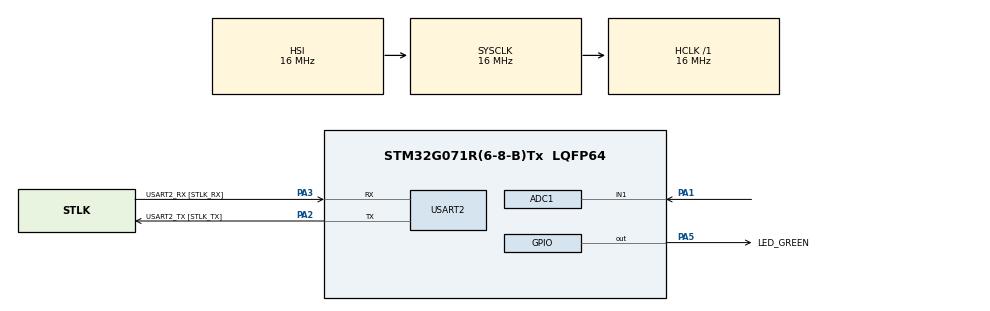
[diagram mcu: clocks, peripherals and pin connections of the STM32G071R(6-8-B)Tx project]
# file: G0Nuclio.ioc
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ADC1.Channel-0\#ChannelRegularConversion=ADC_CHANNEL_1
ADC1.ContinuousConvMode=ENABLE
ADC1.NbrOfConversionFlag=1
ADC1.Rank-0\#ChannelRegularConversion=1
ADC1.SamplingTime-0\#ChannelRegularConversion=ADC_SAMPLINGTIME_COMMON_1
ADC1.SelectedChannel=ADC_CHANNEL_1
ADC1.master=1
Mcu.Family=STM32G0
Mcu.Name=STM32G071R(6-8-B)Tx
Mcu.Package=LQFP64
PA1.Mode=IN1
PA1.Signal=ADC1_IN1
PA13.GPIO_Label=TMS
PA13.Mode=Serial_Wire
PA13.Signal=SYS_SWDIO
PA14-BOOT0.GPIO_Label=TCK
PA14-BOOT0.Mode=Serial_Wire
PA14-BOOT0.Signal=SYS_SWCLK
PA2.GPIO_Label=USART2_TX [STLK_TX]
PA2.GPIO_PuPd=GPIO_PULLUP
PA2.Mode=Asynchronous
PA2.Signal=USART2_TX
PA3.GPIO_Label=USART2_RX [STLK_RX]
PA3.GPIO_PuPd=GPIO_PULLUP
PA3.Mode=Asynchronous
PA3.Signal=USART2_RX
PA5.GPIO_Label=LED_GREEN
PA5.GPIO_Speed=GPIO_SPEED_FREQ_HIGH
PA5.Signal=GPIO_Output
PC13.Mode=SYS_WakeUp1
PC13.Signal=SYS_WKUP2
PC14-OSC32_IN\ (PC14).Mode=LSE-External-Oscillator
PC14-OSC32_IN\ (PC14).Signal=RCC_OSC32_IN
PC15-OSC32_OUT\ (PC15).Mode=LSE-External-Oscillator
PC15-OSC32_OUT\ (PC15).Signal=RCC_OSC32_OUT
PF0-OSC_IN\ (PF0).GPIO_Label=MCO
PF0-OSC_IN\ (PF0).Mode=HSE-External-Clock-Source
PF0-OSC_IN\ (PF0).Signal=RCC_OSC_IN
ProjectManager.HeapSize=0x200
ProjectManager.StackSize=0x400
ProjectManager.TargetToolchain=STM32CubeIDE
RCC.AHBFreq_Value=16000000
RCC.CortexFreq_Value=16000000
RCC.EXTERNAL_CLOCK_VALUE=12288000
RCC.HCLKFreq_Value=16000000
RCC.HSE_VALUE=8000000
RCC.HSI_VALUE=16000000
RCC.SYSCLKFreq_VALUE=16000000
RCC.VCOOutputFreq_Value=128000000
TIM2.Period=30-1
TIM2.Prescaler=16-1
USART2.VirtualMode-Asynchronous=VM_ASYNC
VP_TIM2_VS_ClockSourceINT.Mode=Internal
board=NUCLEO-G071RB

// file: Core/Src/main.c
/* USER CODE BEGIN Header */
/**
  ******************************************************************************
  * @file           : main.c
  * @brief          : Main program body
  ******************************************************************************
  * @attention
  *
  * Copyright (c) 2023 STMicroelectronics.
  * All rights reserved.
  *
  * This software is licensed under terms that can be found in the LICENSE file
  * in the root directory of this software component.
  * If no LICENSE file comes with this software, it is provided AS-IS.
  *
  ******************************************************************************
  */
/* USER CODE END Header */
#include "main.h"

/* USER CODE BEGIN PD */

uint32_t cur_val,avg=0;

int top_val[100];
uint32_t sum = 0, adc_val = 0 ;
uint32_t buffer, sum;
int DMABUFLEN = 10;
uint16_t dmaBuffer[10];
/* USER CODE END PD */

ADC_HandleTypeDef hadc1;

TIM_HandleTypeDef htim2;

UART_HandleTypeDef huart2;

void SystemClock_Config(void);
static void MX_GPIO_Init(void);
static void MX_USART2_UART_Init(void);
static void MX_ADC1_Init(void);
static void MX_TIM2_Init(void);
/* USER CODE BEGIN PFP */

void HAL_ADC_ConvCpltCallback(ADC_HandleTypeDef* hadc)
{
  cur_val = HAL_ADC_GetValue(&hadc1);

}
void updateVal(int* top_val,int adc_val){
	for(uint8_t counter = 1; counter <100;counter++){
		top_val[counter-1] = top_val[counter];
	}
	top_val[99] = adc_val;
}
int averageVal(int* top_val){
sum =0;
	for (int i = 0; i < 100; i++) {
	    sum += top_val[i];
	}
return sum/100;
}

/* USER CODE END PFP */

int main(void)
{

  /* MCU Configuration--------------------------------------------------------*/

  /* Reset of all peripherals, Initializes the Flash interface and the Systick. */
  HAL_Init();

  /* Configure the system clock */
  SystemClock_Config();

  /* Initialize all configured peripherals */
  MX_GPIO_Init();
  MX_USART2_UART_Init();
  MX_ADC1_Init();
  MX_TIM2_Init();
  /* USER CODE BEGIN 2 */

  HAL_TIM_OC_Start(&htim2, TIM_CHANNEL_1);
 HAL_ADC_Start_DMA(&hadc1, (uint32_t*)dmaBuffer, DMABUFLEN);
  /* USER CODE END 2 */

  /* Infinite loop */
  /* USER CODE BEGIN WHILE */
  while (1)
  {
	  adc_val = HAL_ADC_GetValue(&hadc1);
	  updateVal(top_val,adc_val);
	  avg = averageVal(top_val);

    /* USER CODE END WHILE */

  }
}

void SystemClock_Config(void)
{
  RCC_OscInitTypeDef RCC_OscInitStruct = {0};
  RCC_ClkInitTypeDef RCC_ClkInitStruct = {0};

  /** Configure the main internal regulator output voltage
  */
  HAL_PWREx_ControlVoltageScaling(PWR_REGULATOR_VOLTAGE_SCALE1);

  /** Initializes the RCC Oscillators according to the specified parameters
  * in the RCC_OscInitTypeDef structure.
  */
  RCC_OscInitStruct.OscillatorType = RCC_OSCILLATORTYPE_HSI;
  RCC_OscInitStruct.HSIState = RCC_HSI_ON;
  RCC_OscInitStruct.HSIDiv = RCC_HSI_DIV1;
  RCC_OscInitStruct.HSICalibrationValue = RCC_HSICALIBRATION_DEFAULT;
  RCC_OscInitStruct.PLL.PLLState = RCC_PLL_NONE;
  if (HAL_RCC_OscConfig(&RCC_OscInitStruct) != HAL_OK)
  {
    Error_Handler();
  }

  /** Initializes the CPU, AHB and APB buses clocks
  */
  RCC_ClkInitStruct.ClockType = RCC_CLOCKTYPE_HCLK|RCC_CLOCKTYPE_SYSCLK
                              |RCC_CLOCKTYPE_PCLK1;
  RCC_ClkInitStruct.SYSCLKSource = RCC_SYSCLKSOURCE_HSI;
  RCC_ClkInitStruct.AHBCLKDivider = RCC_SYSCLK_DIV1;
  RCC_ClkInitStruct.APB1CLKDivider = RCC_HCLK_DIV1;

  if (HAL_RCC_ClockConfig(&RCC_ClkInitStruct, FLASH_LATENCY_0) != HAL_OK)
  {
    Error_Handler();
  }
}

static void MX_ADC1_Init(void)
{

  ADC_ChannelConfTypeDef sConfig = {0};

  /** Configure the global features of the ADC (Clock, Resolution, Data Alignment and number of conversion)
  */
  hadc1.Instance = ADC1;
  hadc1.Init.ClockPrescaler = ADC_CLOCK_SYNC_PCLK_DIV2;
  hadc1.Init.Resolution = ADC_RESOLUTION_12B;
  hadc1.Init.DataAlign = ADC_DATAALIGN_RIGHT;
  hadc1.Init.ScanConvMode = ADC_SCAN_DISABLE;
  hadc1.Init.EOCSelection = ADC_EOC_SINGLE_CONV;
  hadc1.Init.LowPowerAutoWait = DISABLE;
  hadc1.Init.LowPowerAutoPowerOff = DISABLE;
  hadc1.Init.ContinuousConvMode = ENABLE;
  hadc1.Init.NbrOfConversion = 1;
  hadc1.Init.ExternalTrigConv = ADC_SOFTWARE_START;
  hadc1.Init.ExternalTrigConvEdge = ADC_EXTERNALTRIGCONVEDGE_NONE;
  hadc1.Init.DMAContinuousRequests = DISABLE;
  hadc1.Init.Overrun = ADC_OVR_DATA_PRESERVED;
  hadc1.Init.SamplingTimeCommon1 = ADC_SAMPLETIME_1CYCLE_5;
  hadc1.Init.SamplingTimeCommon2 = ADC_SAMPLETIME_1CYCLE_5;
  hadc1.Init.OversamplingMode = DISABLE;
  hadc1.Init.TriggerFrequencyMode = ADC_TRIGGER_FREQ_HIGH;
  if (HAL_ADC_Init(&hadc1) != HAL_OK)
  {
    Error_Handler();
  }

  /** Configure Regular Channel
  */
  sConfig.Channel = ADC_CHANNEL_1;
  sConfig.Rank = ADC_REGULAR_RANK_1;
  sConfig.SamplingTime = ADC_SAMPLINGTIME_COMMON_1;
  if (HAL_ADC_ConfigChannel(&hadc1, &sConfig) != HAL_OK)
  {
    Error_Handler();
  }

}

static void MX_TIM2_Init(void)
{

  TIM_ClockConfigTypeDef sClockSourceConfig = {0};
  TIM_MasterConfigTypeDef sMasterConfig = {0};

  htim2.Instance = TIM2;
  htim2.Init.Prescaler = 16-1;
  htim2.Init.CounterMode = TIM_COUNTERMODE_UP;
  htim2.Init.Period = 30-1;
  htim2.Init.ClockDivision = TIM_CLOCKDIVISION_DIV1;
  htim2.Init.AutoReloadPreload = TIM_AUTORELOAD_PRELOAD_DISABLE;
  if (HAL_TIM_Base_Init(&htim2) != HAL_OK)
  {
    Error_Handler();
  }
  sClockSourceConfig.ClockSource = TIM_CLOCKSOURCE_INTERNAL;
  if (HAL_TIM_ConfigClockSource(&htim2, &sClockSourceConfig) != HAL_OK)
  {
    Error_Handler();
  }
  sMasterConfig.MasterOutputTrigger = TIM_TRGO_RESET;
  sMasterConfig.MasterSlaveMode = TIM_MASTERSLAVEMODE_DISABLE;
  if (HAL_TIMEx_MasterConfigSynchronization(&htim2, &sMasterConfig) != HAL_OK)
  {
    Error_Handler();
  }

}

static void MX_USART2_UART_Init(void)
{

  huart2.Instance = USART2;
  huart2.Init.BaudRate = 115200;
  huart2.Init.WordLength = UART_WORDLENGTH_8B;
  huart2.Init.StopBits = UART_STOPBITS_1;
  huart2.Init.Parity = UART_PARITY_NONE;
  huart2.Init.Mode = UART_MODE_TX_RX;
  huart2.Init.HwFlowCtl = UART_HWCONTROL_NONE;
  huart2.Init.OverSampling = UART_OVERSAMPLING_16;
  huart2.Init.OneBitSampling = UART_ONE_BIT_SAMPLE_DISABLE;
  huart2.Init.ClockPrescaler = UART_PRESCALER_DIV1;
  huart2.AdvancedInit.AdvFeatureInit = UART_ADVFEATURE_NO_INIT;
  if (HAL_UART_Init(&huart2) != HAL_OK)
  {
    Error_Handler();
  }
  if (HAL_UARTEx_SetTxFifoThreshold(&huart2, UART_TXFIFO_THRESHOLD_1_8) != HAL_OK)
  {
    Error_Handler();
  }
  if (HAL_UARTEx_SetRxFifoThreshold(&huart2, UART_RXFIFO_THRESHOLD_1_8) != HAL_OK)
  {
    Error_Handler();
  }
  if (HAL_UARTEx_DisableFifoMode(&huart2) != HAL_OK)
  {
    Error_Handler();
  }

}

static void MX_GPIO_Init(void)
{
  GPIO_InitTypeDef GPIO_InitStruct = {0};

  /* GPIO Ports Clock Enable */
  __HAL_RCC_GPIOC_CLK_ENABLE();
  __HAL_RCC_GPIOF_CLK_ENABLE();
  __HAL_RCC_GPIOA_CLK_ENABLE();

  /*Configure GPIO pin Output Level */
  HAL_GPIO_WritePin(LED_GREEN_GPIO_Port, LED_GREEN_Pin, GPIO_PIN_RESET);

  /*Configure GPIO pin : LED_GREEN_Pin */
  GPIO_InitStruct.Pin = LED_GREEN_Pin;
  GPIO_InitStruct.Mode = GPIO_MODE_OUTPUT_PP;
  GPIO_InitStruct.Pull = GPIO_NOPULL;
  GPIO_InitStruct.Speed = GPIO_SPEED_FREQ_HIGH;
  HAL_GPIO_Init(LED_GREEN_GPIO_Port, &GPIO_InitStruct);

}

void Error_Handler(void)
{
  __disable_irq();
  while (1)
  {
  }
}
